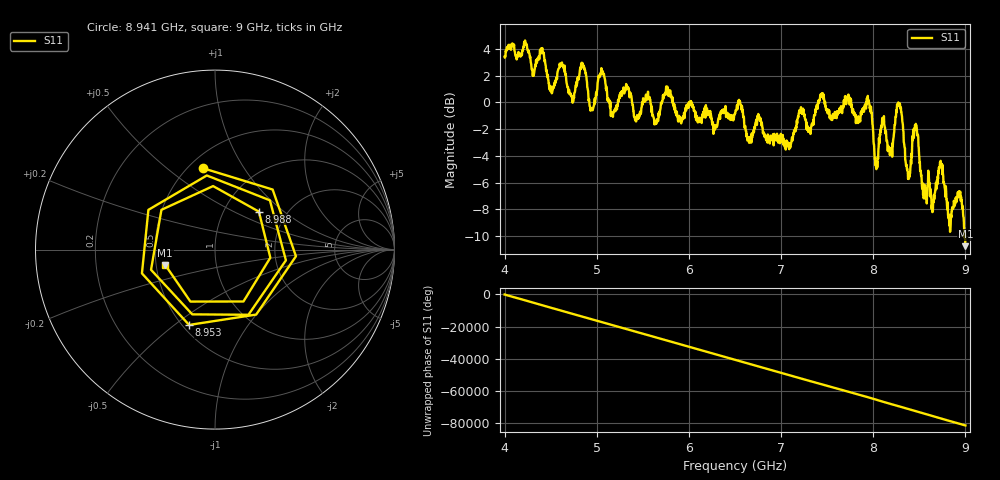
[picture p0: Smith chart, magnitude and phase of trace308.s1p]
! Created with skrf 1.8.0 (http://scikit-rf.org).
# Hz S RI R 50.0
!freq ReS11 ImS11
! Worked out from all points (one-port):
!   1601 points, 4 GHz to 9 GHz, reference 50 ohm
!   lowest |S11| = -10.7 dB at 9 GHz (marker M1), VSWR 1.82, Z = 27.9 - j5.21 ohm
!   |S11| at or under -10 dB: 8.9898 GHz to 8.991784 GHz (1.984 MHz wide, 0.0221 % of centre); 8.997392 GHz to end of sweep
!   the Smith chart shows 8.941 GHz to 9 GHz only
!   S11 on the Smith chart (normalised r, x): 8.941 GHz: 0.59, +0.68; 8.953 GHz: 0.54, -0.57; 8.988 GHz: 1.45, +0.69; 9 GHz: 0.56, -0.10
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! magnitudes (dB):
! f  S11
! 4 GHz  3.4
! 4.406 GHz  3.9
! 4.509 GHz  0.8
! 4.625 GHz  2.9
! 4.728 GHz  0.5
! 4.856 GHz  2.8
! 4.944 GHz  -0.5
! 5.05 GHz  2.6
! 5.169 GHz  -0.8
! 5.25 GHz  0.6
! 5.875 GHz  -1.0
! 6.5 GHz  -0.8
! 7.125 GHz  -2.8
! 7.438 GHz  0.6
! 7.75 GHz  0.1
! 7.956 GHz  -0.1
! 8.034 GHz  -5.0
! 8.197 GHz  -3.4
! 8.281 GHz  -0.2
! 8.375 GHz  -5.2
! 8.459 GHz  -1.8
! 8.556 GHz  -6.1
! 8.731 GHz  -4.4
! 8.828 GHz  -8.7
! 8.941 GHz  -6.8
! 8.953 GHz  -7.1
! 8.988 GHz  -9.8
! 9 GHz  -10.7
